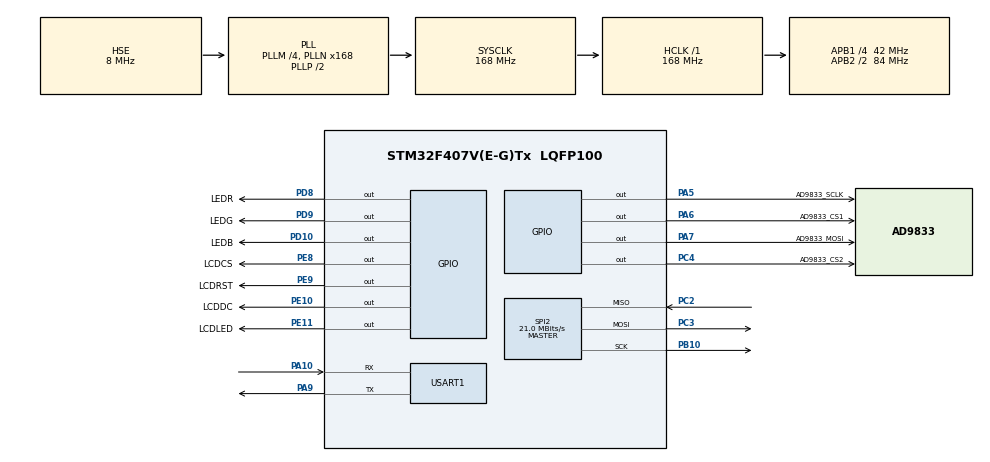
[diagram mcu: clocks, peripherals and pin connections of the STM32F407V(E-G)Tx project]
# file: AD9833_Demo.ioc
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Mcu.Family=STM32F4
Mcu.Name=STM32F407V(E-G)Tx
Mcu.Package=LQFP100
NVIC.PriorityGroup=NVIC_PRIORITYGROUP_4
PA10.Mode=Asynchronous
PA10.Signal=USART1_RX
PA13.Mode=Serial_Wire
PA13.Signal=SYS_JTMS-SWDIO
PA14.Mode=Serial_Wire
PA14.Signal=SYS_JTCK-SWCLK
PA5.GPIO_Label=AD9833_SCLK
PA5.GPIO_Speed=GPIO_SPEED_FREQ_HIGH
PA5.PinState=GPIO_PIN_SET
PA5.Signal=GPIO_Output
PA6.GPIO_Label=AD9833_CS1
PA6.GPIO_Speed=GPIO_SPEED_FREQ_HIGH
PA6.PinState=GPIO_PIN_SET
PA6.Signal=GPIO_Output
PA7.GPIO_Label=AD9833_MOSI
PA7.GPIO_Speed=GPIO_SPEED_FREQ_HIGH
PA7.PinState=GPIO_PIN_RESET
PA7.Signal=GPIO_Output
PA9.Mode=Asynchronous
PA9.Signal=USART1_TX
PB10.Mode=Full_Duplex_Master
PB10.Signal=SPI2_SCK
PC14-OSC32_IN.Mode=LSE-External-Oscillator
PC14-OSC32_IN.Signal=RCC_OSC32_IN
PC15-OSC32_OUT.Mode=LSE-External-Oscillator
PC15-OSC32_OUT.Signal=RCC_OSC32_OUT
PC2.Mode=Full_Duplex_Master
PC2.Signal=SPI2_MISO
PC3.Mode=Full_Duplex_Master
PC3.Signal=SPI2_MOSI
PC4.GPIO_Label=AD9833_CS2
PC4.GPIO_Speed=GPIO_SPEED_FREQ_HIGH
PC4.PinState=GPIO_PIN_SET
PC4.Signal=GPIO_Output
PD10.GPIO_Label=LEDB
PD10.GPIO_PuPd=GPIO_PULLUP
PD10.GPIO_Speed=GPIO_SPEED_FREQ_MEDIUM
PD10.PinState=GPIO_PIN_SET
PD10.Signal=GPIO_Output
PD5.Signal=USART2_TX
PD6.Signal=USART2_RX
PD8.GPIO_Label=LEDR
PD8.GPIO_PuPd=GPIO_PULLUP
PD8.GPIO_Speed=GPIO_SPEED_FREQ_MEDIUM
PD8.PinState=GPIO_PIN_SET
PD8.Signal=GPIO_Output
PD9.GPIO_Label=LEDG
PD9.GPIO_PuPd=GPIO_PULLUP
PD9.GPIO_Speed=GPIO_SPEED_FREQ_MEDIUM
PD9.PinState=GPIO_PIN_SET
PD9.Signal=GPIO_Output
PE10.GPIO_Label=LCDDC
PE10.GPIO_Speed=GPIO_SPEED_FREQ_HIGH
PE10.PinState=GPIO_PIN_SET
PE10.Signal=GPIO_Output
PE11.GPIO_Label=LCDLED
PE11.GPIO_Speed=GPIO_SPEED_FREQ_HIGH
PE11.PinState=GPIO_PIN_SET
PE11.Signal=GPIO_Output
PE8.GPIO_Label=LCDCS
PE8.GPIO_Speed=GPIO_SPEED_FREQ_HIGH
PE8.PinState=GPIO_PIN_SET
PE8.Signal=GPIO_Output
PE9.GPIO_Label=LCDRST
PE9.GPIO_Speed=GPIO_SPEED_FREQ_HIGH
PE9.PinState=GPIO_PIN_RESET
PE9.Signal=GPIO_Output
PH0-OSC_IN.Mode=HSE-External-Oscillator
PH0-OSC_IN.Signal=RCC_OSC_IN
PH1-OSC_OUT.Mode=HSE-External-Oscillator
PH1-OSC_OUT.Signal=RCC_OSC_OUT
ProjectManager.HeapSize=0x200
ProjectManager.StackSize=0x400
ProjectManager.TargetToolchain=CMake
RCC.48MHZClocksFreq_Value=84000000
RCC.AHBFreq_Value=168000000
RCC.APB1CLKDivider=RCC_HCLK_DIV4
RCC.APB1Freq_Value=42000000
RCC.APB1TimFreq_Value=84000000
RCC.APB2CLKDivider=RCC_HCLK_DIV2
RCC.APB2Freq_Value=84000000
RCC.APB2TimFreq_Value=168000000
RCC.CortexFreq_Value=168000000
RCC.HCLKFreq_Value=168000000
RCC.HSE_VALUE=8000000
RCC.HSI_VALUE=16000000
RCC.PLLM=4
RCC.PLLN=168
RCC.PLLSourceVirtual=RCC_PLLSOURCE_HSE
RCC.SYSCLKFreq_VALUE=168000000
RCC.SYSCLKSource=RCC_SYSCLKSOURCE_PLLCLK
RCC.VCOOutputFreq_Value=336000000
SPI2.CalculateBaudRate=21.0 MBits/s
SPI2.Direction=SPI_DIRECTION_2LINES
SPI2.Mode=SPI_MODE_MASTER
SPI2.VirtualType=VM_MASTER
USART1.VirtualMode=VM_ASYNC
board=custom

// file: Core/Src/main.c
/* USER CODE BEGIN Header */
/**
  ******************************************************************************
  * @file           : main.c
  * @brief          : Main program body
  ******************************************************************************
  * @attention
  *
  * Copyright (c) 2025 STMicroelectronics.
  * All rights reserved.
  *
  * This software is licensed under terms that can be found in the LICENSE file
  * in the root directory of this software component.
  * If no LICENSE file comes with this software, it is provided AS-IS.
  *
  ******************************************************************************
  */
/* USER CODE END Header */
#include "main.h"
#include "spi.h"
#include "usart.h"
#include "gpio.h"

/* USER CODE BEGIN Includes */
// "AD9833_HAL.h"
#include "AD9833_Soft.h"
/* USER CODE END Includes */

void SystemClock_Config(void);

int main(void)
{

  /* MCU Configuration--------------------------------------------------------*/

  /* Reset of all peripherals, Initializes the Flash interface and the Systick. */
  HAL_Init();

  /* USER CODE BEGIN Init */
  delay_init(168);
  /* USER CODE END Init */

  /* Configure the system clock */
  SystemClock_Config();

  /* Initialize all configured peripherals */
  MX_GPIO_Init();
  MX_USART1_UART_Init();
  MX_SPI2_Init();
  /* USER CODE BEGIN 2 */
  HAL_GPIO_WritePin(LEDG_GPIO_Port, LEDG_Pin, GPIO_PIN_RESET);
  AD9833_InitTypedef AD9833;
  AD9833.AD_CS1.freq = 1000;
  AD9833.AD_CS1.phase = 180;
  AD9833.AD_CS1.freqReg = 0;
  AD9833.AD_CS1.phaseReg = 0;
  AD9833.AD_CS1.wave = SINE_WAVE;

  AD9833.AD_CS2.freq = 1000;
  AD9833.AD_CS2.phase = 0;
  AD9833.AD_CS2.freqReg = 0;
  AD9833.AD_CS2.phaseReg = 0;
  AD9833.AD_CS2.wave = SINE_WAVE;

  AD9833.status = CS1_CS2_DOUBLE;

  AD9833_Cmd_Sync(&AD9833);

  /* USER CODE END 2 */

  /* Infinite loop */
  while (1)
  {

  }
}

void SystemClock_Config(void)
{
  RCC_OscInitTypeDef RCC_OscInitStruct = {0};
  RCC_ClkInitTypeDef RCC_ClkInitStruct = {0};

  /** Configure the main internal regulator output voltage
  */
  __HAL_RCC_PWR_CLK_ENABLE();
  __HAL_PWR_VOLTAGESCALING_CONFIG(PWR_REGULATOR_VOLTAGE_SCALE1);

  /** Initializes the RCC Oscillators according to the specified parameters
  * in the RCC_OscInitTypeDef structure.
  */
  RCC_OscInitStruct.OscillatorType = RCC_OSCILLATORTYPE_HSE;
  RCC_OscInitStruct.HSEState = RCC_HSE_ON;
  RCC_OscInitStruct.PLL.PLLState = RCC_PLL_ON;
  RCC_OscInitStruct.PLL.PLLSource = RCC_PLLSOURCE_HSE;
  RCC_OscInitStruct.PLL.PLLM = 4;
  RCC_OscInitStruct.PLL.PLLN = 168;
  RCC_OscInitStruct.PLL.PLLP = RCC_PLLP_DIV2;
  RCC_OscInitStruct.PLL.PLLQ = 4;
  if (HAL_RCC_OscConfig(&RCC_OscInitStruct) != HAL_OK)
  {
    Error_Handler();
  }

  /** Initializes the CPU, AHB and APB buses clocks
  */
  RCC_ClkInitStruct.ClockType = RCC_CLOCKTYPE_HCLK|RCC_CLOCKTYPE_SYSCLK
                              |RCC_CLOCKTYPE_PCLK1|RCC_CLOCKTYPE_PCLK2;
  RCC_ClkInitStruct.SYSCLKSource = RCC_SYSCLKSOURCE_PLLCLK;
  RCC_ClkInitStruct.AHBCLKDivider = RCC_SYSCLK_DIV1;
  RCC_ClkInitStruct.APB1CLKDivider = RCC_HCLK_DIV4;
  RCC_ClkInitStruct.APB2CLKDivider = RCC_HCLK_DIV2;

  if (HAL_RCC_ClockConfig(&RCC_ClkInitStruct, FLASH_LATENCY_5) != HAL_OK)
  {
    Error_Handler();
  }
}

void Error_Handler(void)
{
  __disable_irq();
  while (1)
  {
  }
}
